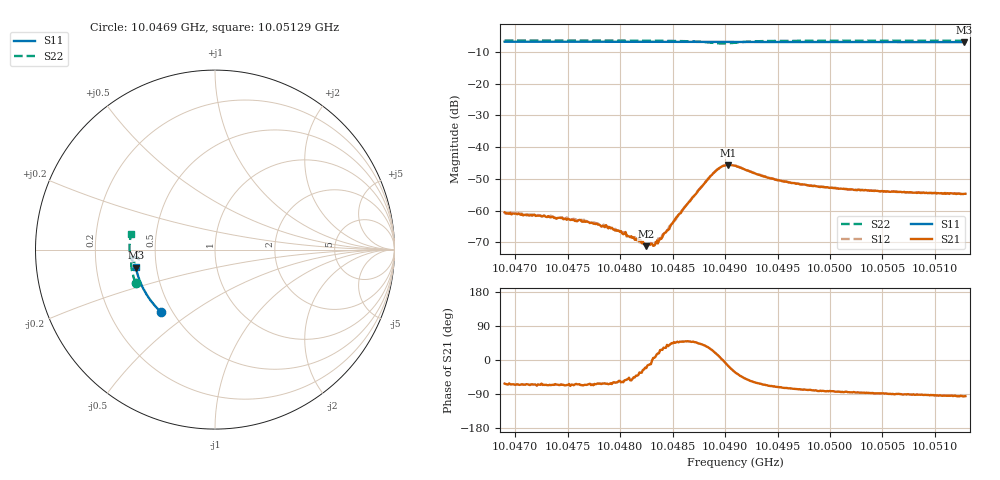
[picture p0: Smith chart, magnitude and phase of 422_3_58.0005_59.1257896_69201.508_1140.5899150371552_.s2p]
#  HZ  S  RI  R  50.00
! Rohde & Schwarz Vector Network Analyzer
! Rohde-Schwarz,ZNB20-2Port,1311601062101988,3.16
! Created: UTC 3/21/2024, 1:09:12 AM
! freq[Hz]  re:S11  im:S11  re:S21  im:S21  re:S12  im:S12  re:S22  im:S22
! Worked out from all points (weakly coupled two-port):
!   401 points, 10.0469 GHz to 10.05129 GHz, reference 50 ohm
!   highest |S21| = -45.55 dB at 10.04903 GHz (marker M1); lowest = -71.2 dB at 10.04825 GHz (marker M2)
!   lowest |S11| = -6.9 dB at 10.05128 GHz (marker M3), VSWR 2.65, Z = 19.1 - j4.8 ohm
!   |S11| at or under -10 dB: nowhere
!   |S22| runs from -7.3 to -6.4 dB; largest |S21 - S12| = 0.00037
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1.0046898e10  -0.3017 -0.3468  0.000438 -0.000831  0.000449 -0.000773  -0.4425 -0.1861
1.0047173e10  -0.3148 -0.3343  0.000363 -0.000771  0.000433 -0.00075  -0.4487 -0.1688
1.0047634e10  -0.3356 -0.3121  0.000273 -0.000617  0.000356 -0.00062  -0.458 -0.1384
1.0047766e10  -0.3413 -0.3054  0.000269 -0.000554  0.000328 -0.000549  -0.4603 -0.1294
1.0047986e10  -0.3503 -0.294  0.000276 -0.000397  0.000289 -0.000396  -0.4634 -0.1139
1.004815e10  -0.357 -0.2856  0.000268 -0.000236  0.000279 -0.000227  -0.4654 -0.1018
1.0048205e10  -0.3591 -0.2827  0.000258 -0.00017  0.000274 -0.000161  -0.4658 -0.0975
1.0048249e10  -0.3608 -0.2804  0.000258 -0.0001  0.000296 -8.21e-05  -0.4663 -0.0941
1.0048326e10  -0.3639 -0.2763  0.000281 2.94e-05  0.000305 5.4e-05  -0.4666 -0.0878
1.004837e10  -0.3655 -0.2739  0.000324 0.000105  0.000368 0.000169  -0.4668 -0.0843
1.0048458e10  -0.3688 -0.2692  0.000399 0.000295  0.000382 0.000344  -0.4666 -0.0768
1.0048546e10  -0.372 -0.2643  0.000542 0.000608  0.000511 0.000627  -0.4656 -0.0686
1.0048666e10  -0.3763 -0.2576  0.00093 0.00107  0.000906 0.00115  -0.4622 -0.0567
1.0048864e10  -0.3831 -0.2464  0.00313 0.00168  0.00298 0.00187  -0.4419 -0.0412
1.0048941e10  -0.3854 -0.2421  0.00454 0.000814  0.00453 0.0011  -0.4294 -0.0464
1.0049029e10  -0.3884 -0.2374  0.00509 -0.00138  0.00521 -0.00106  -0.428 -0.063
1.0049095e10  -0.3904 -0.2339  0.0043 -0.00273  0.00452 -0.00244  -0.4374 -0.0701
1.0049479e10  -0.4025 -0.2114  0.00102 -0.00291  0.00121 -0.00287  -0.4707 -0.0426
1.004983e10  -0.4122 -0.1907  0.00043 -0.00241  0.000597 -0.0024  -0.4755 -0.0139
1.0050566e10  -0.4291 -0.1455  1.94e-05 -0.00198  0.000144 -0.00203  -0.475 0.0384
1.005128e10  -0.4407 -0.1002  -0.000188 -0.00184  -7.69e-05 -0.00188  -0.4682 0.0862
1.0051291e10  -0.441 -0.0996  -0.000171 -0.00184  -7.71e-05 -0.00183  -0.4682 0.0869
